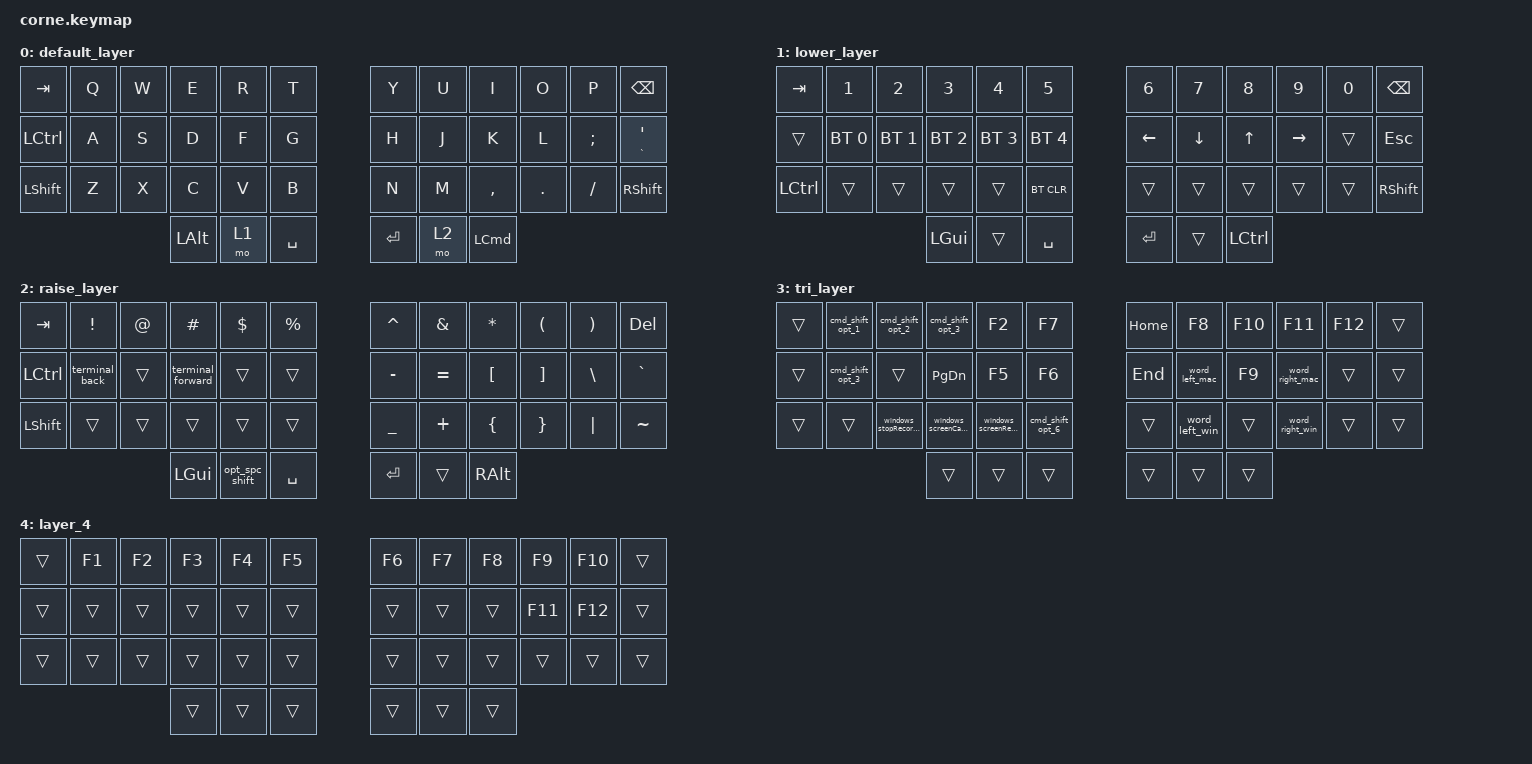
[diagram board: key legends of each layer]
/*
 * Copyright (c) 2020 The ZMK Contributors
 *
 * SPDX-License-Identifier: MIT
 */

#include <behaviors.dtsi>
#include <dt-bindings/zmk/bt.h>
#include <dt-bindings/zmk/keys.h>

/ {
    chosen { zmk,display = &nice_view; };

    // Additional configuration for display content can be added here

    behaviors {
        bspc_esc: backspace_escape {
            compatible = "zmk,behavior-hold-tap";
            label = "BACKSPACE_ESCAPE";
            #binding-cells = <2>;
            tapping-term-ms = <200>;
            quick-tap-ms = <0>;
            flavor = "tap-preferred";
            bindings = <&kp>, <&kp>;
        };

        singQuote_Tilde: singQuote_Tilde {
            compatible = "zmk,behavior-hold-tap";
            label = "SINGQUOTE_TILDE";
            bindings = <&kp>, <&kp>;

            #binding-cells = <2>;
            tapping-term-ms = <200>;
            flavor = "tap-preferred";
            quick-tap-ms = <0>;
        };
    };

    macros {
        opt_spc_shift: option_space_shift {
            compatible = "zmk,behavior-macro";
            #binding-cells = <0>;
            bindings =
                <&macro_press>,
                <&kp LALT>,
                <&macro_press>,
                <&kp LSHFT>,
                <&macro_pause_for_release>,
                <&macro_tap>,
                <&kp SPACE>,
                <&macro_release>,
                <&kp LSHFT>,
                <&macro_release>,
                <&kp LALT>;
        };

        word_left_mac: word_left_mac {
            compatible = "zmk,behavior-macro";
            #binding-cells = <0>;
            bindings =
                <&macro_press>,
                <&kp LALT &kp LSHFT>,
                <&macro_tap>,
                <&kp LEFT>,
                <&macro_release>,
                <&kp LSHFT &kp LALT>;
        };

        word_right_mac: word_right_mac {
            compatible = "zmk,behavior-macro";
            #binding-cells = <0>;
            bindings =
                <&macro_press>,
                <&kp LALT &kp LSHFT>,
                <&macro_tap>,
                <&kp RIGHT>,
                <&macro_release>,
                <&kp LSHFT &kp LALT>;
        };

        word_left_win: word_left_win {
            compatible = "zmk,behavior-macro";
            #binding-cells = <0>;
            bindings =
                <&macro_press>,
                <&kp LCTRL &kp LSHFT>,
                <&macro_tap>,
                <&kp LEFT>,
                <&macro_release>,
                <&kp LSHFT &kp LCTRL>;
        };

        word_right_win: word_right_win {
            compatible = "zmk,behavior-macro";
            #binding-cells = <0>;
            bindings =
                <&macro_press>,
                <&kp LCTRL &kp LSHFT>,
                <&macro_tap>,
                <&kp RIGHT>,
                <&macro_release>,
                <&kp LSHFT &kp LCTRL>;
        };

        cmd_shift_opt_1: command_shift_option_1 {
            compatible = "zmk,behavior-macro";
            #binding-cells = <0>;
            bindings =
                <&macro_press>,
                <&kp LGUI &kp LSHIFT &kp LALT>,
                <&macro_tap>,
                <&kp N1>,
                <&macro_release>,
                <&kp LGUI &kp LSHIFT &kp LALT>;
        };

        cmd_shift_opt_2: command_shift_option_2 {
            compatible = "zmk,behavior-macro";
            #binding-cells = <0>;
            bindings =
                <&macro_press>,
                <&kp LGUI &kp LSHIFT &kp LALT>,
                <&macro_tap>,
                <&kp N2>,
                <&macro_release>,
                <&kp LGUI &kp LSHIFT &kp LALT>;
        };

        cmd_shift_opt_3: cmd_shift_opt_3 {
            compatible = "zmk,behavior-macro";
            #binding-cells = <0>;
            bindings =
                <&macro_press>,
                <&kp LGUI &kp LSHIFT &kp LALT>,
                <&macro_tap>,
                <&kp N3>,
                <&macro_release>,
                <&kp LGUI &kp LSHIFT &kp LALT>;

            label = "CMD_SHIFT_OPT_3";
        };

        terminal_back: terminal_back {
            compatible = "zmk,behavior-macro";
            #binding-cells = <0>;
            bindings = <&macro_tap>, <&kp ESCAPE>, <&macro_tap>, <&kp B>;

            label = "TERMINAL_BACK";
        };

        terminal_forward: terminal_forward {
            compatible = "zmk,behavior-macro";
            #binding-cells = <0>;
            bindings = <&macro_tap>, <&kp ESCAPE>, <&macro_tap>, <&kp F>;

            label = "TERMINAL_FORWARD";
        };

        cmd_shift_opt_6: cmd_shift_opt_6 {
            compatible = "zmk,behavior-macro";
            #binding-cells = <0>;
            bindings =
                <&macro_press>,
                <&kp LGUI &kp LCTRL>,
                <&macro_tap>,
                <&kp N6>,
                <&macro_release>,
                <&kp LGUI &kp LCTRL>;

            label = "CMD_SHIFT_OPT_6";
        };

        windows_screenCapture_ShareX: windows_screenCapture {
            compatible = "zmk,behavior-macro";
            #binding-cells = <0>;
            bindings =
                <&macro_press>,
                <&kp LEFT_CONTROL>,
                <&macro_tap>,
                <&kp PRINTSCREEN>,
                <&macro_release>,
                <&kp LEFT_CONTROL>;

            label = "WINDOWS_SCREENCAPTURE";
        };

        windows_screenRecord_ShareX: windows_screenRecord_ShareX {
            compatible = "zmk,behavior-macro";
            #binding-cells = <0>;
            bindings =
                <&macro_press>,
                <&kp LEFT_SHIFT>,
                <&macro_tap>,
                <&kp PRINTSCREEN>,
                <&macro_release>,
                <&kp LEFT_SHIFT>;

            label = "WINDOWS_SCREENRECORD_SHAREX";
        };

        windows_stopRecord_ShareX: windows_stopRecord_ShareX {
            compatible = "zmk,behavior-macro";
            #binding-cells = <0>;
            bindings =
                <&macro_press>,
                <&kp LCTRL &kp LEFT_SHIFT>,
                <&macro_tap>,
                <&kp PRINTSCREEN>,
                <&macro_release>,
                <&kp LEFT_CONTROL &kp LEFT_SHIFT>;

            label = "WINDOWS_STOPRECORD_SHAREX";
        };
    };

    conditional_layers {
        compatible = "zmk,conditional-layers";

        tri_layer {
            if-layers = <1 2>;
            then-layer = <3>;
        };
    };

    combos {
        compatible = "zmk,combos";

        bottomThumbEsc {
            bindings = <&kp ESCAPE>;
            key-positions = <38 39>;
        };

        layer_four {
            bindings = <&tog 4>;
            key-positions = <37 35>;
        };
    };

    keymap {
        compatible = "zmk,keymap";

        default_layer {
            // -----------------------------------------------------------------------------------------
            // |  TAB |  Q  |  W  |  E  |  R  |  T  |   |  Y  |  U   |  I  |  O  |  P  | BSPC |
            // | CTRL |  A  |  S  |  D  |  F  |  G  |   |  H  |  J   |  K  |  L  |  ;  |  '   |
            // | SHFT |  Z  |  X  |  C  |  V  |  B  |   |  N  |  M   |  ,  |  .  |  /  | ESC  |
            //                    | GUI | LWR | SPC |   | ENT | RSE  | ALT |

            bindings = <
&kp TAB           &kp Q  &kp W  &kp E         &kp R  &kp T        &kp Y    &kp U  &kp I             &kp O    &kp P     &kp BACKSPACE
&kp LEFT_CONTROL  &kp A  &kp S  &kp D         &kp F  &kp G        &kp H    &kp J  &kp K             &kp L    &kp SEMI  &singQuote_Tilde GRAVE SQT
&kp LEFT_SHIFT    &kp Z  &kp X  &kp C         &kp V  &kp B        &kp N    &kp M  &kp COMMA         &kp DOT  &kp FSLH  &kp RIGHT_SHIFT
                                &kp LEFT_ALT  &mo 1  &kp SPACE    &kp RET  &mo 2  &kp LEFT_COMMAND
            >;
        };

        lower_layer {
            // -----------------------------------------------------------------------------------------
            // |  TAB |  1  |  2  |  3  |  4  |  5  |   |  6  |  7  |  8  |  9  |  0  | BSPC |
            // | BTCLR| BT1 | BT2 | BT3 | BT4 | BT5 |   | LFT | DWN |  UP | RGT |     |      |
            // | SHFT |     |     |     |     |     |   |     |     |     |     |     |      |
            //                    | GUI |     | SPC |   | ENT |     | ALT |

            bindings = <
&kp TAB           &kp N1        &kp N2        &kp N3        &kp N4        &kp N5          &kp N6    &kp N7    &kp N8            &kp N9     &kp N0  &kp BSPC
&trans            &bt BT_SEL 0  &bt BT_SEL 1  &bt BT_SEL 2  &bt BT_SEL 3  &bt BT_SEL 4    &kp LEFT  &kp DOWN  &kp UP            &kp RIGHT  &trans  &kp ESCAPE
&kp LEFT_CONTROL  &trans        &trans        &trans        &trans        &bt BT_CLR      &trans    &trans    &trans            &trans     &trans  &kp RIGHT_SHIFT
                                              &kp LGUI      &trans        &kp SPACE       &kp RET   &trans    &kp LEFT_CONTROL
            >;
        };

        raise_layer {
            // -----------------------------------------------------------------------------------------
            // |  TAB |  !  |  @  |  #  |  $  |  %  |   |  ^  |  &  |  *  |  (  |  )  | BSPC |
            // | CTRL |     |     |     |     |     |   |  -  |  =  |  [  |  ]  |  \  |  `   |
            // | SHFT |     |     |     |     |     |   |  _  |  +  |  {  |  }  | "|" |  ~   |
            //                    | GUI |     | SPC |   | ENT |     | ALT |

            bindings = <
&kp TAB    &kp EXCL        &kp AT  &kp HASH           &kp DLLR        &kp PRCNT    &kp CARET  &kp AMPS   &kp ASTRK  &kp LPAR  &kp RPAR  &kp DELETE
&kp LCTRL  &terminal_back  &trans  &terminal_forward  &trans          &trans       &kp MINUS  &kp EQUAL  &kp LBKT   &kp RBKT  &kp BSLH  &kp GRAVE
&kp LSHFT  &trans          &trans  &trans             &trans          &trans       &kp UNDER  &kp PLUS   &kp LBRC   &kp RBRC  &kp PIPE  &kp TILDE
                                   &kp LGUI           &opt_spc_shift  &kp SPACE    &kp RET    &trans     &kp RALT
            >;
        };

        tri_layer {
            // -----------------------------------------------------------------------------------------
            // |      |CS01 |CS02 |     |     |     |   |     |     |     |     |     |      |
            // |      |     |     |     |     |     |   |     | W← M|     | W→ M|     |      |
            // |      |     |     |     |     |     |   |     | W← W|     | W→ W|     |      |
            //                    |     |     |     |   |     |     |     |

            bindings = <
&trans  &cmd_shift_opt_1  &cmd_shift_opt_2            &cmd_shift_opt_3               &kp F2                        &kp F7              &kp HOME  &kp F8          &kp F10  &kp F11          &kp F12  &trans
&trans  &cmd_shift_opt_3  &trans                      &kp PAGE_DOWN                  &kp F5                        &kp F6              &kp END   &word_left_mac  &kp F9   &word_right_mac  &trans   &trans
&trans  &trans            &windows_stopRecord_ShareX  &windows_screenCapture_ShareX  &windows_screenRecord_ShareX  &cmd_shift_opt_6    &trans    &word_left_win  &trans   &word_right_win  &trans   &trans
                                                      &trans                         &trans                        &trans              &trans    &trans          &trans
            >;
        };

        layer_4 {
            bindings = <
&trans  &kp F1  &kp F2  &kp F3  &kp F4  &kp F5    &kp F6  &kp F7  &kp F8  &kp F9   &kp F10  &trans
&trans  &trans  &trans  &trans  &trans  &trans    &trans  &trans  &trans  &kp F11  &kp F12  &trans
&trans  &trans  &trans  &trans  &trans  &trans    &trans  &trans  &trans  &trans   &trans   &trans
                        &trans  &trans  &trans    &trans  &trans  &trans
            >;
        };
    };
};
